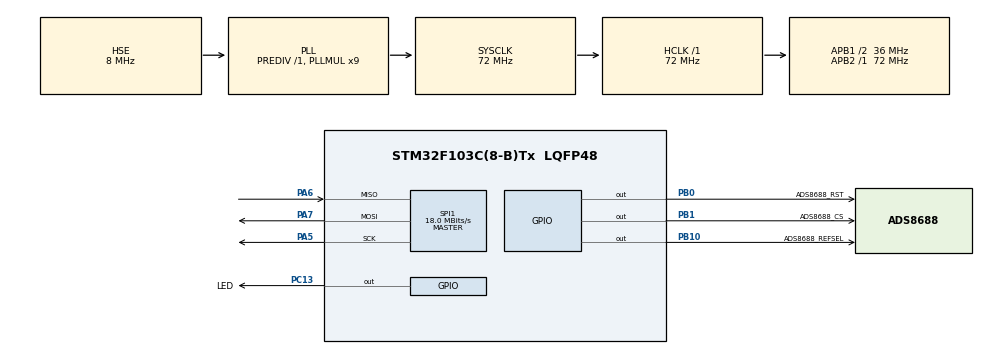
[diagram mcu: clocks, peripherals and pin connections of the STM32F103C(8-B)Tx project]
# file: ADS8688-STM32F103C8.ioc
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Mcu.Family=STM32F1
Mcu.Name=STM32F103C(8-B)Tx
Mcu.Package=LQFP48
NVIC.PriorityGroup=NVIC_PRIORITYGROUP_4
PA13.Mode=Serial_Wire
PA13.Signal=SYS_JTMS-SWDIO
PA14.Mode=Serial_Wire
PA14.Signal=SYS_JTCK-SWCLK
PA5.Mode=Full_Duplex_Master
PA5.Signal=SPI1_SCK
PA6.Mode=Full_Duplex_Master
PA6.Signal=SPI1_MISO
PA7.Mode=Full_Duplex_Master
PA7.Signal=SPI1_MOSI
PB0.GPIO_Label=ADS8688_RST
PB0.Signal=GPIO_Output
PB1.GPIO_Label=ADS8688_CS
PB1.Signal=GPIO_Output
PB10.GPIO_Label=ADS8688_REFSEL
PB10.Signal=GPIO_Output
PC13-TAMPER-RTC.GPIO_Label=LED
PC13-TAMPER-RTC.Signal=GPIO_Output
PD0-OSC_IN.Mode=HSE-External-Oscillator
PD0-OSC_IN.Signal=RCC_OSC_IN
PD1-OSC_OUT.Mode=HSE-External-Oscillator
PD1-OSC_OUT.Signal=RCC_OSC_OUT
ProjectManager.HeapSize=0x200
ProjectManager.StackSize=0x400
ProjectManager.TargetToolchain=STM32CubeIDE
RCC.AHBFreq_Value=72000000
RCC.APB1CLKDivider=RCC_HCLK_DIV2
RCC.APB1Freq_Value=36000000
RCC.APB1TimFreq_Value=72000000
RCC.APB2Freq_Value=72000000
RCC.APB2TimFreq_Value=72000000
RCC.HCLKFreq_Value=72000000
RCC.PLLMUL=RCC_PLL_MUL9
RCC.PLLSourceVirtual=RCC_PLLSOURCE_HSE
RCC.SYSCLKFreq_VALUE=72000000
RCC.SYSCLKSource=RCC_SYSCLKSOURCE_PLLCLK
RCC.USBFreq_Value=72000000
SPI1.BaudRatePrescaler=SPI_BAUDRATEPRESCALER_4
SPI1.CLKPhase=SPI_PHASE_2EDGE
SPI1.CalculateBaudRate=18.0 MBits/s
SPI1.DataSize=SPI_DATASIZE_16BIT
SPI1.Direction=SPI_DIRECTION_2LINES
SPI1.Mode=SPI_MODE_MASTER
SPI1.VirtualType=VM_MASTER
board=custom

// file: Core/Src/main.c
/* USER CODE BEGIN Header */
/**
 ******************************************************************************
 * @file           : main.c
 * @brief          : Main program body
 ******************************************************************************
 * @attention
 *
 * Copyright (c) 2025 STMicroelectronics.
 * All rights reserved.
 *
 * This software is licensed under terms that can be found in the LICENSE file
 * in the root directory of this software component.
 * If no LICENSE file comes with this software, it is provided AS-IS.
 *
 ******************************************************************************
 */
/* USER CODE END Header */
#include "main.h"
#include "spi.h"
#include "gpio.h"

/* USER CODE BEGIN Includes */
#include "ads8688.h"
#include <stdio.h>
#include <string.h>
/* USER CODE END Includes */

/* USER CODE BEGIN PV */

// ADS变量
ADS8688_HandleTypeDef ADS8688; // 这个设计对一个STM32接入多个ADS8688友好
uint16_t ads_data[8] = {0};
float voltage[8] = {0};

// ADS8688参考电压定义（根据实际硬件电路设置）
#define ADS8688_VREF 4.096f // 参考电压为4.096V（内部参考电压典型值）

// 存储当前通道范围设置，用于正确的电压转换
uint8_t current_channel_ranges[ADS8688_NUM_CHANNELS];

/* USER CODE END PV */

void SystemClock_Config(void);

int main(void)
{

  /* MCU Configuration--------------------------------------------------------*/

  /* Reset of all peripherals, Initializes the Flash interface and the Systick. */
  HAL_Init();

  /* Configure the system clock */
  SystemClock_Config();

  /* Initialize all configured peripherals */
  MX_GPIO_Init();
  MX_SPI1_Init();
  /* USER CODE BEGIN 2 */

  HAL_GPIO_WritePin(ADS8688_RST_GPIO_Port, ADS8688_RST_Pin, GPIO_PIN_SET); // 初始化ADS8688复位引脚

  ADS8688_Init(&ADS8688, &hspi1, ADS8688_CS_GPIO_Port, ADS8688_CS_Pin); // 初始化ADS8688

  // 设置通道输入范围（在初始化之后重新配置）
  uint8_t channel_ranges[ADS8688_NUM_CHANNELS] = {
      ADS8688_RANGE_BIPOLAR_2_5_VREF, // 通道0: ±2.5 × VREF (±10.24V)
      ADS8688_RANGE_BIPOLAR_2_5_VREF, // 通道1: ±2.5 × VREF (±10.24V)
      ADS8688_RANGE_BIPOLAR_2_5_VREF, // 通道2: ±2.5 × VREF (±10.24V)
      ADS8688_RANGE_BIPOLAR_2_5_VREF, // 通道3: ±2.5 × VREF (±10.24V)
      ADS8688_RANGE_BIPOLAR_2_5_VREF, // 通道4: ±2.5 × VREF (±10.24V)
      ADS8688_RANGE_BIPOLAR_2_5_VREF, // 通道5: ±2.5 × VREF (±10.24V)
      ADS8688_RANGE_BIPOLAR_2_5_VREF, // 通道6: ±2.5 × VREF (±10.24V)
      ADS8688_RANGE_BIPOLAR_2_5_VREF  // 通道7: ±2.5 × VREF (±10.24V)
  };
  // 应用通道范围配置
  ADS8688_SetChannelRanges(&ADS8688, channel_ranges);

  // 保存当前通道范围设置以便后续电压转换使用
  for (int i = 0; i < ADS8688_NUM_CHANNELS; i++)
  {
    current_channel_ranges[i] = channel_ranges[i];
  }

  // 使用下面的函数设置采集通道数，并且要修改ADS8688_NUM_CHANNELS
  ADS8688_SetActiveChannels(&ADS8688, ADS8688_AUTO_SEQ_ALL_EN); // 采集所有通道

  /* USER CODE END 2 */

  /* Infinite loop */
  /* USER CODE BEGIN WHILE */
  while (1)
  {

    ADS8688_ReadAllChannelsRaw(&ADS8688, ads_data);

    // 使用专用的电压转换函数将原始数据转换为实际电压
    for (int i = 0; i < ADS8688_NUM_CHANNELS; i++)
    {
      voltage[i] = ADS8688_ConvertToVoltage(ads_data[i], current_channel_ranges[i], ADS8688_VREF);
    }

    // 可以在这里添加其他非时间关键的任务
    // 例如：处理串口通信、LED指示等

    /* USER CODE END WHILE */

  }
}

void SystemClock_Config(void)
{
  RCC_OscInitTypeDef RCC_OscInitStruct = {0};
  RCC_ClkInitTypeDef RCC_ClkInitStruct = {0};

  /** Initializes the RCC Oscillators according to the specified parameters
   * in the RCC_OscInitTypeDef structure.
   */
  RCC_OscInitStruct.OscillatorType = RCC_OSCILLATORTYPE_HSE;
  RCC_OscInitStruct.HSEState = RCC_HSE_ON;
  RCC_OscInitStruct.HSEPredivValue = RCC_HSE_PREDIV_DIV1;
  RCC_OscInitStruct.HSIState = RCC_HSI_ON;
  RCC_OscInitStruct.PLL.PLLState = RCC_PLL_ON;
  RCC_OscInitStruct.PLL.PLLSource = RCC_PLLSOURCE_HSE;
  RCC_OscInitStruct.PLL.PLLMUL = RCC_PLL_MUL9;
  if (HAL_RCC_OscConfig(&RCC_OscInitStruct) != HAL_OK)
  {
    Error_Handler();
  }

  /** Initializes the CPU, AHB and APB buses clocks
   */
  RCC_ClkInitStruct.ClockType = RCC_CLOCKTYPE_HCLK | RCC_CLOCKTYPE_SYSCLK | RCC_CLOCKTYPE_PCLK1 | RCC_CLOCKTYPE_PCLK2;
  RCC_ClkInitStruct.SYSCLKSource = RCC_SYSCLKSOURCE_PLLCLK;
  RCC_ClkInitStruct.AHBCLKDivider = RCC_SYSCLK_DIV1;
  RCC_ClkInitStruct.APB1CLKDivider = RCC_HCLK_DIV2;
  RCC_ClkInitStruct.APB2CLKDivider = RCC_HCLK_DIV1;

  if (HAL_RCC_ClockConfig(&RCC_ClkInitStruct, FLASH_LATENCY_2) != HAL_OK)
  {
    Error_Handler();
  }
}

void Error_Handler(void)
{
  __disable_irq();
  while (1)
  {
  }
}
